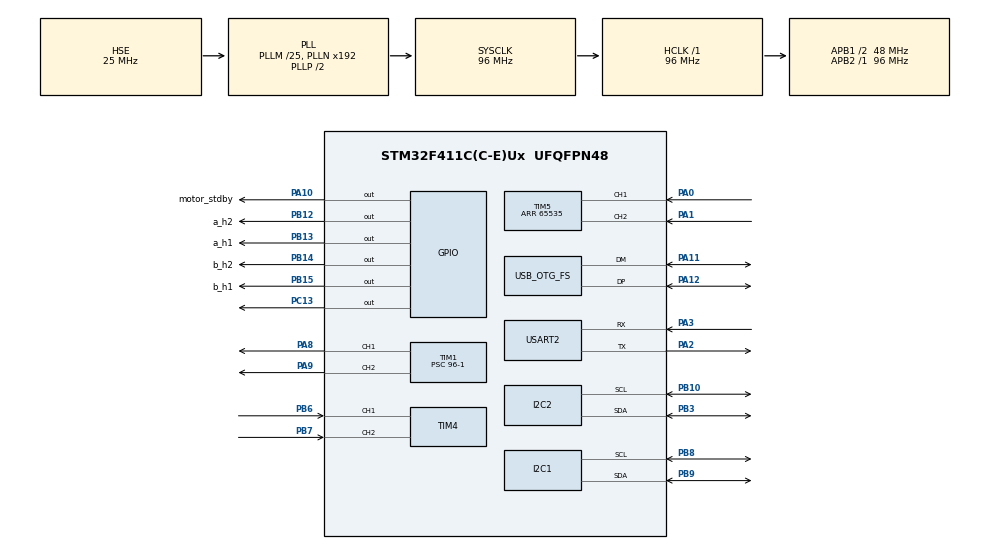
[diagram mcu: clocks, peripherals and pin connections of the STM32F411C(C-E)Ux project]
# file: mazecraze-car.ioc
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FREERTOS.Tasks01=defaultTask,0,128,StartDefaultTask,Default,NULL,Dynamic,NULL,NULL;myTask02,-3,128,StartTask02,Default,NULL,Dynamic,NULL,NULL
Mcu.Family=STM32F4
Mcu.Name=STM32F411C(C-E)Ux
Mcu.Package=UFQFPN48
NVIC.OTG_FS_IRQn=true\:5\:0\:false\:false\:true\:true\:false\:true\:true
NVIC.PriorityGroup=NVIC_PRIORITYGROUP_4
NVIC.TIM1_TRG_COM_TIM11_IRQn=true\:5\:0\:false\:false\:true\:true\:true\:true\:true
NVIC.TIM2_IRQn=true\:15\:0\:false\:false\:true\:false\:false\:true\:true
NVIC.TimeBase=TIM2_IRQn
NVIC.TimeBaseIP=TIM2
PA0-WKUP.Signal=S_TIM5_CH1
PA1.Signal=S_TIM5_CH2
PA10.GPIO_Label=motor_stdby
PA10.Signal=GPIO_Output
PA11.Mode=Device_Only
PA11.Signal=USB_OTG_FS_DM
PA12.Mode=Device_Only
PA12.Signal=USB_OTG_FS_DP
PA13.Mode=Serial_Wire
PA13.Signal=SYS_JTMS-SWDIO
PA14.Mode=Serial_Wire
PA14.Signal=SYS_JTCK-SWCLK
PA2.Mode=Asynchronous
PA2.Signal=USART2_TX
PA3.Mode=Asynchronous
PA3.Signal=USART2_RX
PA8.Signal=S_TIM1_CH1
PA9.Signal=S_TIM1_CH2
PB10.GPIO_Pu=GPIO_PULLUP
PB10.Mode=I2C
PB10.Signal=I2C2_SCL
PB12.GPIO_Label=a_h2
PB12.Signal=GPIO_Output
PB13.GPIO_Label=a_h1
PB13.Signal=GPIO_Output
PB14.GPIO_Label=b_h2
PB14.Signal=GPIO_Output
PB15.GPIO_Label=b_h1
PB15.Signal=GPIO_Output
PB3.GPIO_Pu=GPIO_PULLUP
PB3.Mode=I2C
PB3.Signal=I2C2_SDA
PB6.Signal=S_TIM4_CH1
PB7.Signal=S_TIM4_CH2
PB8.Mode=I2C
PB8.Signal=I2C1_SCL
PB9.Mode=I2C
PB9.Signal=I2C1_SDA
PC13-ANTI_TAMP.Signal=GPIO_Output
PH0\ -\ OSC_IN.Mode=HSE-External-Oscillator
PH0\ -\ OSC_IN.Signal=RCC_OSC_IN
PH1\ -\ OSC_OUT.Mode=HSE-External-Oscillator
PH1\ -\ OSC_OUT.Signal=RCC_OSC_OUT
ProjectManager.HeapSize=0x200
ProjectManager.StackSize=0x400
ProjectManager.TargetToolchain=Makefile
RCC.48MHZClocksFreq_Value=48000000
RCC.AHBFreq_Value=96000000
RCC.APB1CLKDivider=RCC_HCLK_DIV2
RCC.APB1Freq_Value=48000000
RCC.APB1TimFreq_Value=96000000
RCC.APB2Freq_Value=96000000
RCC.APB2TimFreq_Value=96000000
RCC.CortexFreq_Value=96000000
RCC.HCLKFreq_Value=96000000
RCC.HSE_VALUE=25000000
RCC.HSI_VALUE=16000000
RCC.LSE_VALUE=32768
RCC.PLLM=25
RCC.SYSCLKFreq_VALUE=96000000
RCC.SYSCLKSource=RCC_SYSCLKSOURCE_PLLCLK
RCC.VCOOutputFreq_Value=192000000
SH.S_TIM1_CH1.0=TIM1_CH1,PWM Generation1 CH1
SH.S_TIM1_CH2.0=TIM1_CH2,PWM Generation2 CH2
SH.S_TIM4_CH1.0=TIM4_CH1,Encoder_Interface
SH.S_TIM4_CH2.0=TIM4_CH2,Encoder_Interface
SH.S_TIM5_CH1.0=TIM5_CH1,Encoder_Interface
SH.S_TIM5_CH2.0=TIM5_CH2,Encoder_Interface
TIM1.Channel-PWM\ Generation1\ CH1=TIM_CHANNEL_1
TIM1.Channel-PWM\ Generation2\ CH2=TIM_CHANNEL_2
TIM1.Period=50-1
TIM1.Prescaler=96-1
TIM11.Period=10416-1
TIM11.Prescaler=960-1
TIM5.Period=65535
USART2.VirtualMode=VM_ASYNC
USB_DEVICE.CLASS_NAME_FS=CDC
USB_DEVICE.VirtualMode=Cdc
USB_DEVICE.VirtualModeFS=Cdc_FS
USB_OTG_FS.VirtualMode=Device_Only
VP_FREERTOS_VS_CMSIS_V1.Mode=CMSIS_V1
VP_SYS_VS_tim2.Mode=TIM2
VP_TIM11_VS_ClockSourceINT.Mode=Enable_Timer
VP_TIM1_VS_ClockSourceINT.Mode=Internal
VP_USB_DEVICE_VS_USB_DEVICE_CDC_FS.Mode=CDC_FS
board=custom

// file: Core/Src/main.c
/* USER CODE BEGIN Header */
/**
  ******************************************************************************
  * @file           : main.c
  * @brief          : Main program body
  ******************************************************************************
  * @attention
  *
  * Copyright (c) 2025 STMicroelectronics.
  * All rights reserved.
  *
  * This software is licensed under terms that can be found in the LICENSE file
  * in the root directory of this software component.
  * If no LICENSE file comes with this software, it is provided AS-IS.
  *
  ******************************************************************************
  */
/* USER CODE END Header */
#include "main.h"
#include "cmsis_os.h"
#include "usb_device.h"

/* USER CODE BEGIN Includes */
#include "my_print.h"
#include "tcs32725.h"
#include "tca9548.h"
#include "lsm6dsl_hal.h"
#include "usbd_cdc_if.h"
#include "motor_ll.h"
#include "vl53l0x.h"
//#include "pmw3901.h"
#include "sh1106.h"
#include "pf_hal.h"
#include "qmc5883p.h"
/* USER CODE END Includes */

I2C_HandleTypeDef hi2c1;
I2C_HandleTypeDef hi2c2;

TIM_HandleTypeDef htim1;
TIM_HandleTypeDef htim4;
TIM_HandleTypeDef htim5;
TIM_HandleTypeDef htim11;

UART_HandleTypeDef huart2;

osThreadId defaultTaskHandle;
osThreadId myTask02Handle;

void SystemClock_Config(void);
static void MX_GPIO_Init(void);
static void MX_I2C1_Init(void);
static void MX_I2C2_Init(void);
static void MX_TIM1_Init(void);
static void MX_TIM4_Init(void);
static void MX_TIM5_Init(void);
static void MX_TIM11_Init(void);
static void MX_USART2_UART_Init(void);
void StartDefaultTask(void const * argument);
void StartTask02(void const * argument);

/* USER CODE BEGIN 0 */
void I2C_Scan(I2C_HandleTypeDef *hi2c) {
    my_printf("Starting I2C scan on bus %s...\r\n", (hi2c == &hi2c2) ? "hi2c2" : "unknown");

    for (uint8_t address = 1; address < 127; address++) {
        // Try to transmit to the current address
        if (HAL_I2C_IsDeviceReady(hi2c, (address << 1), 1, 10) == HAL_OK) {
            my_printf("Found device at 0x%02X\r\n", address);
        }
    }

    my_printf("I2C scan complete.\r\n");
}
/* USER CODE END 0 */

int main(void)
{

  /* MCU Configuration--------------------------------------------------------*/

  /* Reset of all peripherals, Initializes the Flash interface and the Systick. */
  HAL_Init();

  /* Configure the system clock */
  SystemClock_Config();

  /* Initialize all configured peripherals */
  MX_GPIO_Init();
  MX_I2C1_Init();
  MX_I2C2_Init();
  MX_TIM1_Init();
  MX_TIM4_Init();
  MX_TIM5_Init();
  MX_TIM11_Init();
  MX_USART2_UART_Init();
  /* USER CODE BEGIN 2 */

//  HAL_TIM_PWM_Start(&htim1, TIM_CHANNEL_1);
//  HAL_TIM_PWM_Start(&htim1, TIM_CHANNEL_2);
//  __HAL_TIM_SET_COMPARE(&htim1, TIM_CHANNEL_1, 49);
//  __HAL_TIM_SET_COMPARE(&htim1, TIM_CHANNEL_2, 49);
//  HAL_GPIO_WritePin(GPIOB, GPIO_PIN_13, GPIO_PIN_SET);  // PB13 HIGH
//  HAL_GPIO_WritePin(GPIOB, GPIO_PIN_12, GPIO_PIN_RESET); // PB12 LOW
//  HAL_GPIO_WritePin(GPIOB, GPIO_PIN_14, GPIO_PIN_SET);  // PB13 HIGH
//  HAL_GPIO_WritePin(GPIOB, GPIO_PIN_15, GPIO_PIN_RESET); // PB12 LOW
//  HAL_GPIO_WritePin(GPIOA, motor_stdby_Pin, GPIO_PIN_SET); // make standby pin high, activate the motor driver

  HAL_TIM_Base_Start_IT(&htim11);

  selectTCAChannel(0);
  TCS34725_t tcs34725_sensor;
  tcs32725_begin(&tcs34725_sensor, TCS34725_INTEGRATIONTIME_24MS, TCS34725_GAIN_1X);
  selectTCAChannel(1);
  TCS34725_t tcs34725_sensor1;
  tcs32725_begin(&tcs34725_sensor1, TCS34725_INTEGRATIONTIME_24MS, TCS34725_GAIN_1X);
  selectTCAChannel(2);
  TCS34725_t tcs34725_sensor2;
  tcs32725_begin(&tcs34725_sensor2, TCS34725_INTEGRATIONTIME_24MS, TCS34725_GAIN_1X);
  float r, g, b;
  uint32_t count = 0;

  uint8_t dev_id = 0;
  uint8_t whoami = 0x0F;
  HAL_I2C_Master_Transmit(&hi2c2, 0x6B << 1, &whoami, 1, 100);
  HAL_I2C_Master_Receive(&hi2c2, 0x6B << 1, &dev_id, 1, 100);
  my_printf("my id: %d", dev_id);

  motor_init();
  uint8_t speed = 25;
  motor_direction_t dir_A = REVERSE;
  motor_direction_t dir_B = FORWARD;
  int32_t tick_m_a = 0, tick_m_b = 0;
  int16_t tick_m_a_short = 0, tick_m_b_short = 0;

  vl53l0x_init();
  uint16_t range_a = 0, range_b = 0;

  //lsm6dsl_read_data_polling();

  qmc5883p_init();
  int16_t mag_x, mag_y, mag_z;

  HAL_Delay(1000);
  /* USER CODE END 2 */

  /* Create the thread(s) */
  /* definition and creation of defaultTask */
  osThreadDef(defaultTask, StartDefaultTask, osPriorityNormal, 0, 128);
  defaultTaskHandle = osThreadCreate(osThread(defaultTask), NULL);

  /* definition and creation of myTask02 */
  osThreadDef(myTask02, StartTask02, osPriorityIdle, 0, 128);
  myTask02Handle = osThreadCreate(osThread(myTask02), NULL);

  /* Start scheduler */
  osKernelStart();

  /* We should never get here as control is now taken by the scheduler */

  /* Infinite loop */
  /* USER CODE BEGIN WHILE */
  while (1)
  {

//	  vl53l0x_read_range_single(0, &range_a);
//	  vl53l0x_read_range_single(1, &range_b);
//	  my_printf("vl53l0x 0: %d, vl53lox 1: %d\r\n", range_a, range_b);

//	  selectTCAChannel(count % 3);
//	  getRGB(&r, &g, &b);
//	  my_printf("RGB Values from %d: R = %d, G = %d, B = %d\r\n", count%3, (int)(r), (int)(g), (int)(b));
//	  count++;

//	  printColour(&pf_sensor_a_colour);
//	  printColour(&pf_sensor_b_colour);
//	  printColour(&pf_sensor_c_colour);
//	  HAL_Delay(100);

	  //I2C_Scan(&hi2c2);
	  qmc5883p_read_all(&mag_x, &mag_y, &mag_z);
	  my_printf("mag x: %d, y: %d, z: %d\r\n", mag_x, mag_y, mag_z);
	  HAL_Delay(100);
//      motor_set_speed(MOTOR_A, speed);
//      motor_set_speed(MOTOR_B, speed);
//
//      motor_control(MOTOR_A, dir_A);
//      motor_control(MOTOR_B, dir_B);
//
//      encoder_get_tick(MOTOR_A, &tick_m_a);
//      encoder_get_tick(MOTOR_B, &tick_m_b);
//
//      tick_m_a_short = (int16_t)(tick_m_a);  // Direct cast
//      tick_m_b_short = (int16_t)(tick_m_b);  // Direct cast
//
//      my_printf("motor a tick: %d, motor b tick: %d\r\n", tick_m_a_short, tick_m_b_short);
//
//      HAL_Delay(1000);
//
//      // Toggle direction
//      dir_A = (dir_A == FORWARD) ? REVERSE : FORWARD;
//      dir_B = (dir_B == FORWARD) ? REVERSE : FORWARD;
//
//      // Toggle speed between 25 and 50
//      speed = (speed == 25) ? 40 : 25;
    /* USER CODE END WHILE */

  }
}

void SystemClock_Config(void)
{
  RCC_OscInitTypeDef RCC_OscInitStruct = {0};
  RCC_ClkInitTypeDef RCC_ClkInitStruct = {0};

  /** Configure the main internal regulator output voltage
  */
  __HAL_RCC_PWR_CLK_ENABLE();
  __HAL_PWR_VOLTAGESCALING_CONFIG(PWR_REGULATOR_VOLTAGE_SCALE1);

  /** Initializes the RCC Oscillators according to the specified parameters
  * in the RCC_OscInitTypeDef structure.
  */
  RCC_OscInitStruct.OscillatorType = RCC_OSCILLATORTYPE_HSE;
  RCC_OscInitStruct.HSEState = RCC_HSE_ON;
  RCC_OscInitStruct.PLL.PLLState = RCC_PLL_ON;
  RCC_OscInitStruct.PLL.PLLSource = RCC_PLLSOURCE_HSE;
  RCC_OscInitStruct.PLL.PLLM = 25;
  RCC_OscInitStruct.PLL.PLLN = 192;
  RCC_OscInitStruct.PLL.PLLP = RCC_PLLP_DIV2;
  RCC_OscInitStruct.PLL.PLLQ = 4;
  if (HAL_RCC_OscConfig(&RCC_OscInitStruct) != HAL_OK)
  {
    Error_Handler();
  }

  /** Initializes the CPU, AHB and APB buses clocks
  */
  RCC_ClkInitStruct.ClockType = RCC_CLOCKTYPE_HCLK|RCC_CLOCKTYPE_SYSCLK
                              |RCC_CLOCKTYPE_PCLK1|RCC_CLOCKTYPE_PCLK2;
  RCC_ClkInitStruct.SYSCLKSource = RCC_SYSCLKSOURCE_PLLCLK;
  RCC_ClkInitStruct.AHBCLKDivider = RCC_SYSCLK_DIV1;
  RCC_ClkInitStruct.APB1CLKDivider = RCC_HCLK_DIV2;
  RCC_ClkInitStruct.APB2CLKDivider = RCC_HCLK_DIV1;

  if (HAL_RCC_ClockConfig(&RCC_ClkInitStruct, FLASH_LATENCY_3) != HAL_OK)
  {
    Error_Handler();
  }
}

static void MX_I2C1_Init(void)
{

  hi2c1.Instance = I2C1;
  hi2c1.Init.ClockSpeed = 100000;
  hi2c1.Init.DutyCycle = I2C_DUTYCYCLE_2;
  hi2c1.Init.OwnAddress1 = 0;
  hi2c1.Init.AddressingMode = I2C_ADDRESSINGMODE_7BIT;
  hi2c1.Init.DualAddressMode = I2C_DUALADDRESS_DISABLE;
  hi2c1.Init.OwnAddress2 = 0;
  hi2c1.Init.GeneralCallMode = I2C_GENERALCALL_DISABLE;
  hi2c1.Init.NoStretchMode = I2C_NOSTRETCH_DISABLE;
  if (HAL_I2C_Init(&hi2c1) != HAL_OK)
  {
    Error_Handler();
  }

}

static void MX_I2C2_Init(void)
{

  hi2c2.Instance = I2C2;
  hi2c2.Init.ClockSpeed = 100000;
  hi2c2.Init.DutyCycle = I2C_DUTYCYCLE_2;
  hi2c2.Init.OwnAddress1 = 0;
  hi2c2.Init.AddressingMode = I2C_ADDRESSINGMODE_7BIT;
  hi2c2.Init.DualAddressMode = I2C_DUALADDRESS_DISABLE;
  hi2c2.Init.OwnAddress2 = 0;
  hi2c2.Init.GeneralCallMode = I2C_GENERALCALL_DISABLE;
  hi2c2.Init.NoStretchMode = I2C_NOSTRETCH_DISABLE;
  if (HAL_I2C_Init(&hi2c2) != HAL_OK)
  {
    Error_Handler();
  }

}

static void MX_TIM1_Init(void)
{

  TIM_ClockConfigTypeDef sClockSourceConfig = {0};
  TIM_MasterConfigTypeDef sMasterConfig = {0};
  TIM_OC_InitTypeDef sConfigOC = {0};
  TIM_BreakDeadTimeConfigTypeDef sBreakDeadTimeConfig = {0};

  htim1.Instance = TIM1;
  htim1.Init.Prescaler = 96-1;
  htim1.Init.CounterMode = TIM_COUNTERMODE_UP;
  htim1.Init.Period = 50-1;
  htim1.Init.ClockDivision = TIM_CLOCKDIVISION_DIV1;
  htim1.Init.RepetitionCounter = 0;
  htim1.Init.AutoReloadPreload = TIM_AUTORELOAD_PRELOAD_DISABLE;
  if (HAL_TIM_Base_Init(&htim1) != HAL_OK)
  {
    Error_Handler();
  }
  sClockSourceConfig.ClockSource = TIM_CLOCKSOURCE_INTERNAL;
  if (HAL_TIM_ConfigClockSource(&htim1, &sClockSourceConfig) != HAL_OK)
  {
    Error_Handler();
  }
  if (HAL_TIM_PWM_Init(&htim1) != HAL_OK)
  {
    Error_Handler();
  }
  sMasterConfig.MasterOutputTrigger = TIM_TRGO_RESET;
  sMasterConfig.MasterSlaveMode = TIM_MASTERSLAVEMODE_DISABLE;
  if (HAL_TIMEx_MasterConfigSynchronization(&htim1, &sMasterConfig) != HAL_OK)
  {
    Error_Handler();
  }
  sConfigOC.OCMode = TIM_OCMODE_PWM1;
  sConfigOC.Pulse = 0;
  sConfigOC.OCPolarity = TIM_OCPOLARITY_HIGH;
  sConfigOC.OCNPolarity = TIM_OCNPOLARITY_HIGH;
  sConfigOC.OCFastMode = TIM_OCFAST_DISABLE;
  sConfigOC.OCIdleState = TIM_OCIDLESTATE_RESET;
  sConfigOC.OCNIdleState = TIM_OCNIDLESTATE_RESET;
  if (HAL_TIM_PWM_ConfigChannel(&htim1, &sConfigOC, TIM_CHANNEL_1) != HAL_OK)
  {
    Error_Handler();
  }
  if (HAL_TIM_PWM_ConfigChannel(&htim1, &sConfigOC, TIM_CHANNEL_2) != HAL_OK)
  {
    Error_Handler();
  }
  sBreakDeadTimeConfig.OffStateRunMode = TIM_OSSR_DISABLE;
  sBreakDeadTimeConfig.OffStateIDLEMode = TIM_OSSI_DISABLE;
  sBreakDeadTimeConfig.LockLevel = TIM_LOCKLEVEL_OFF;
  sBreakDeadTimeConfig.DeadTime = 0;
  sBreakDeadTimeConfig.BreakState = TIM_BREAK_DISABLE;
  sBreakDeadTimeConfig.BreakPolarity = TIM_BREAKPOLARITY_HIGH;
  sBreakDeadTimeConfig.AutomaticOutput = TIM_AUTOMATICOUTPUT_DISABLE;
  if (HAL_TIMEx_ConfigBreakDeadTime(&htim1, &sBreakDeadTimeConfig) != HAL_OK)
  {
    Error_Handler();
  }
  HAL_TIM_MspPostInit(&htim1);

}

static void MX_TIM4_Init(void)
{

  TIM_Encoder_InitTypeDef sConfig = {0};
  TIM_MasterConfigTypeDef sMasterConfig = {0};

  htim4.Instance = TIM4;
  htim4.Init.Prescaler = 0;
  htim4.Init.CounterMode = TIM_COUNTERMODE_UP;
  htim4.Init.Period = 65535;
  htim4.Init.ClockDivision = TIM_CLOCKDIVISION_DIV1;
  htim4.Init.AutoReloadPreload = TIM_AUTORELOAD_PRELOAD_DISABLE;
  sConfig.EncoderMode = TIM_ENCODERMODE_TI1;
  sConfig.IC1Polarity = TIM_ICPOLARITY_RISING;
  sConfig.IC1Selection = TIM_ICSELECTION_DIRECTTI;
  sConfig.IC1Prescaler = TIM_ICPSC_DIV1;
  sConfig.IC1Filter = 0;
  sConfig.IC2Polarity = TIM_ICPOLARITY_RISING;
  sConfig.IC2Selection = TIM_ICSELECTION_DIRECTTI;
  sConfig.IC2Prescaler = TIM_ICPSC_DIV1;
  sConfig.IC2Filter = 0;
  if (HAL_TIM_Encoder_Init(&htim4, &sConfig) != HAL_OK)
  {
    Error_Handler();
  }
  sMasterConfig.MasterOutputTrigger = TIM_TRGO_RESET;
  sMasterConfig.MasterSlaveMode = TIM_MASTERSLAVEMODE_DISABLE;
  if (HAL_TIMEx_MasterConfigSynchronization(&htim4, &sMasterConfig) != HAL_OK)
  {
    Error_Handler();
  }

}

static void MX_TIM5_Init(void)
{

  TIM_Encoder_InitTypeDef sConfig = {0};
  TIM_MasterConfigTypeDef sMasterConfig = {0};

  htim5.Instance = TIM5;
  htim5.Init.Prescaler = 0;
  htim5.Init.CounterMode = TIM_COUNTERMODE_UP;
  htim5.Init.Period = 65535;
  htim5.Init.ClockDivision = TIM_CLOCKDIVISION_DIV1;
  htim5.Init.AutoReloadPreload = TIM_AUTORELOAD_PRELOAD_DISABLE;
  sConfig.EncoderMode = TIM_ENCODERMODE_TI1;
  sConfig.IC1Polarity = TIM_ICPOLARITY_RISING;
  sConfig.IC1Selection = TIM_ICSELECTION_DIRECTTI;
  sConfig.IC1Prescaler = TIM_ICPSC_DIV1;
  sConfig.IC1Filter = 0;
  sConfig.IC2Polarity = TIM_ICPOLARITY_RISING;
  sConfig.IC2Selection = TIM_ICSELECTION_DIRECTTI;
  sConfig.IC2Prescaler = TIM_ICPSC_DIV1;
  sConfig.IC2Filter = 0;
  if (HAL_TIM_Encoder_Init(&htim5, &sConfig) != HAL_OK)
  {
    Error_Handler();
  }
  sMasterConfig.MasterOutputTrigger = TIM_TRGO_RESET;
  sMasterConfig.MasterSlaveMode = TIM_MASTERSLAVEMODE_DISABLE;
  if (HAL_TIMEx_MasterConfigSynchronization(&htim5, &sMasterConfig) != HAL_OK)
  {
    Error_Handler();
  }

}

static void MX_TIM11_Init(void)
{

  htim11.Instance = TIM11;
  htim11.Init.Prescaler = 960-1;
  htim11.Init.CounterMode = TIM_COUNTERMODE_UP;
  htim11.Init.Period = 10416-1;
  htim11.Init.ClockDivision = TIM_CLOCKDIVISION_DIV1;
  htim11.Init.AutoReloadPreload = TIM_AUTORELOAD_PRELOAD_DISABLE;
  if (HAL_TIM_Base_Init(&htim11) != HAL_OK)
  {
    Error_Handler();
  }

}

static void MX_USART2_UART_Init(void)
{

  huart2.Instance = USART2;
  huart2.Init.BaudRate = 115200;
  huart2.Init.WordLength = UART_WORDLENGTH_8B;
  huart2.Init.StopBits = UART_STOPBITS_1;
  huart2.Init.Parity = UART_PARITY_NONE;
  huart2.Init.Mode = UART_MODE_TX_RX;
  huart2.Init.HwFlowCtl = UART_HWCONTROL_NONE;
  huart2.Init.OverSampling = UART_OVERSAMPLING_16;
  if (HAL_UART_Init(&huart2) != HAL_OK)
  {
    Error_Handler();
  }

}

static void MX_GPIO_Init(void)
{
  GPIO_InitTypeDef GPIO_InitStruct = {0};

  /* GPIO Ports Clock Enable */
  __HAL_RCC_GPIOC_CLK_ENABLE();
  __HAL_RCC_GPIOH_CLK_ENABLE();
  __HAL_RCC_GPIOA_CLK_ENABLE();
  __HAL_RCC_GPIOB_CLK_ENABLE();

  /*Configure GPIO pin Output Level */
  HAL_GPIO_WritePin(GPIOC, GPIO_PIN_13, GPIO_PIN_RESET);

  /*Configure GPIO pin Output Level */
  HAL_GPIO_WritePin(GPIOB, a_h2_Pin|a_h1_Pin|b_h2_Pin|b_h1_Pin, GPIO_PIN_RESET);

  /*Configure GPIO pin Output Level */
  HAL_GPIO_WritePin(motor_stdby_GPIO_Port, motor_stdby_Pin, GPIO_PIN_RESET);

  /*Configure GPIO pin : PC13 */
  GPIO_InitStruct.Pin = GPIO_PIN_13;
  GPIO_InitStruct.Mode = GPIO_MODE_OUTPUT_PP;
  GPIO_InitStruct.Pull = GPIO_NOPULL;
  GPIO_InitStruct.Speed = GPIO_SPEED_FREQ_LOW;
  HAL_GPIO_Init(GPIOC, &GPIO_InitStruct);

  /*Configure GPIO pins : a_h2_Pin a_h1_Pin b_h2_Pin b_h1_Pin */
  GPIO_InitStruct.Pin = a_h2_Pin|a_h1_Pin|b_h2_Pin|b_h1_Pin;
  GPIO_InitStruct.Mode = GPIO_MODE_OUTPUT_PP;
  GPIO_InitStruct.Pull = GPIO_NOPULL;
  GPIO_InitStruct.Speed = GPIO_SPEED_FREQ_LOW;
  HAL_GPIO_Init(GPIOB, &GPIO_InitStruct);

  /*Configure GPIO pin : motor_stdby_Pin */
  GPIO_InitStruct.Pin = motor_stdby_Pin;
  GPIO_InitStruct.Mode = GPIO_MODE_OUTPUT_PP;
  GPIO_InitStruct.Pull = GPIO_NOPULL;
  GPIO_InitStruct.Speed = GPIO_SPEED_FREQ_LOW;
  HAL_GPIO_Init(motor_stdby_GPIO_Port, &GPIO_InitStruct);

}

void StartDefaultTask(void const * argument)
{
  /* init code for USB_DEVICE */
  MX_USB_DEVICE_Init();
  for(;;)
  {
    osDelay(1);
  }
}

void StartTask02(void const * argument)
{
  for(;;)
  {
    osDelay(1);
  }
}

void HAL_TIM_PeriodElapsedCallback(TIM_HandleTypeDef *htim)
{
  if (htim->Instance == TIM2)
  {
    HAL_IncTick();
  }
}

void Error_Handler(void)
{
  __disable_irq();
  while (1)
  {
  }
}
